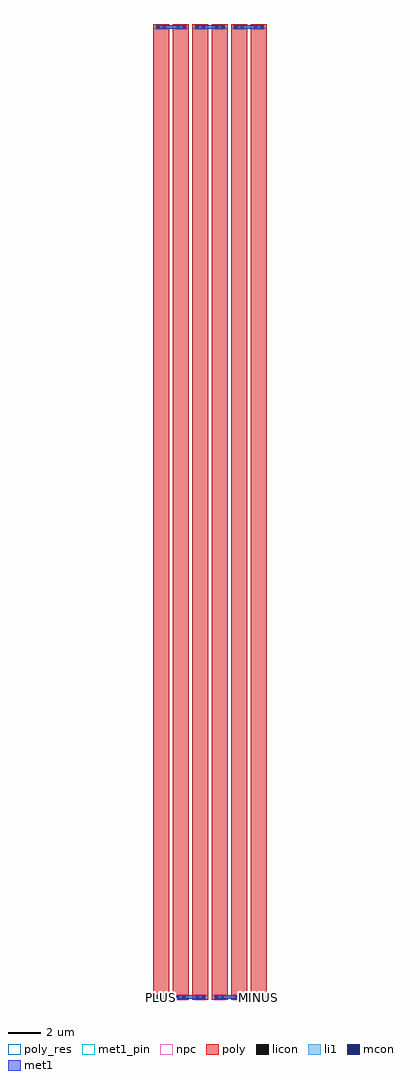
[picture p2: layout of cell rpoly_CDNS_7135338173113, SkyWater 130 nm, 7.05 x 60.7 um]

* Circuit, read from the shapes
.subckt rpoly_CDNS_7135338173113 MINUS PLUS
R1 n1 PLUS sky130_fd_pr__res_generic_po w=1 l=60.165
R2 n1 n2 sky130_fd_pr__res_generic_po w=1 l=60.165
R3 n3 n2 sky130_fd_pr__res_generic_po w=1 l=60.165
R4 n3 n4 sky130_fd_pr__res_generic_po w=1 l=60.165
R5 n5 n4 sky130_fd_pr__res_generic_po w=1 l=60.165
R6 n5 MINUS sky130_fd_pr__res_generic_po w=1 l=60.165
.ends

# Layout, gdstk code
import gdstk
lib = gdstk.Library(unit=1e-6, precision=1e-09)
def R(c, l, rs):  # rectangles x0, y0, x1, y1
    for r in rs: c.add(gdstk.rectangle(r[:2], r[2:], *l))
def A(c, l, x, y, w, h, nx, ny, dx, dy):  # array of equal rectangles
    R(c, l, [(x+i*dx, y+j*dy, x+i*dx+w, y+j*dy+h) for i in range(nx) for j in range(ny)])
poly_res = (66, 13)
poly = (66, 20)
licon = (66, 44)
li1 = (67, 20)
mcon = (67, 44)
met1_pin = (68, 16)
met1 = (68, 20)
npc = (95, 20)

rpoly_cdns_7135338173113 = lib.new_cell('rpoly_CDNS_7135338173113')
A(rpoly_cdns_7135338173113, poly_res, 0, 0, 1, 60.165, 6, 1, 1.21, 0)
A(rpoly_cdns_7135338173113, poly, 0, -0.25, 1, 60.665, 6, 1, 1.21, 0)
R(rpoly_cdns_7135338173113, licon, [(0.245,-0.17,0.415,0), (0.585,-0.17,0.755,0), (1.455,-0.17,1.625,0), (1.795,-0.17,1.965,0), (2.665,-0.17,2.835,0), (3.005,-0.17,3.175,0), (3.875,-0.17,4.045,0), (4.215,-0.17,4.385,0), (5.085,-0.17,5.255,0), (5.425,-0.17,5.595,0), (6.295,-0.17,6.465,0), (6.635,-0.17,6.805,0), (0.245,60.165,0.415,60.335), (0.585,60.165,0.755,60.335), (1.455,60.165,1.625,60.335), (1.795,60.165,1.965,60.335), (2.665,60.165,2.835,60.335), (3.005,60.165,3.175,60.335), (3.875,60.165,4.045,60.335), (4.215,60.165,4.385,60.335), (5.085,60.165,5.255,60.335), (5.425,60.165,5.595,60.335), (6.295,60.165,6.465,60.335), (6.635,60.165,6.805,60.335)])
A(rpoly_cdns_7135338173113, li1, 0.165, 60.165, 1.88, 0.17, 3, 1, 2.42, 0)
R(rpoly_cdns_7135338173113, li1, [(0.165,-0.17,0.835,0), (1.375,-0.17,3.255,0), (3.795,-0.17,5.675,0), (6.215,-0.17,6.885,0)])
R(rpoly_cdns_7135338173113, mcon, [(0.235,-0.17,0.405,0), (0.595,-0.17,0.765,0), (1.445,-0.17,1.615,0), (1.805,-0.17,1.975,0), (2.655,-0.17,2.825,0), (3.015,-0.17,3.185,0), (3.865,-0.17,4.035,0), (4.225,-0.17,4.395,0), (5.075,-0.17,5.245,0), (5.435,-0.17,5.605,0), (6.285,-0.17,6.455,0), (6.645,-0.17,6.815,0), (0.235,60.165,0.405,60.335), (0.595,60.165,0.765,60.335), (1.445,60.165,1.615,60.335), (1.805,60.165,1.975,60.335), (2.655,60.165,2.825,60.335), (3.015,60.165,3.185,60.335), (3.865,60.165,4.035,60.335), (4.225,60.165,4.395,60.335), (5.075,60.165,5.245,60.335), (5.435,60.165,5.605,60.335), (6.285,60.165,6.455,60.335), (6.645,60.165,6.815,60.335)])
R(rpoly_cdns_7135338173113, met1_pin, [(0.175,-0.2,0.825,0.03), (6.225,-0.2,6.875,0.03)])
A(rpoly_cdns_7135338173113, met1, 0.175, 60.135, 1.86, 0.23, 3, 1, 2.42, 0)
R(rpoly_cdns_7135338173113, met1, [(0.175,-0.2,0.825,0.03), (1.385,-0.2,3.245,0.03), (3.805,-0.2,5.665,0.03), (6.225,-0.2,6.875,0.03)])
A(rpoly_cdns_7135338173113, npc, 0.145, -0.27, 0.71, 0.37, 6, 2, 1.21, 60.335)
rpoly_cdns_7135338173113.add(gdstk.Label('MINUS', (6.55,-0.085), layer=68, texttype=5))
rpoly_cdns_7135338173113.add(gdstk.Label('PLUS', (0.5,-0.085), layer=68, texttype=5))

lib.write_gds('rpoly_CDNS_7135338173113.gds')
